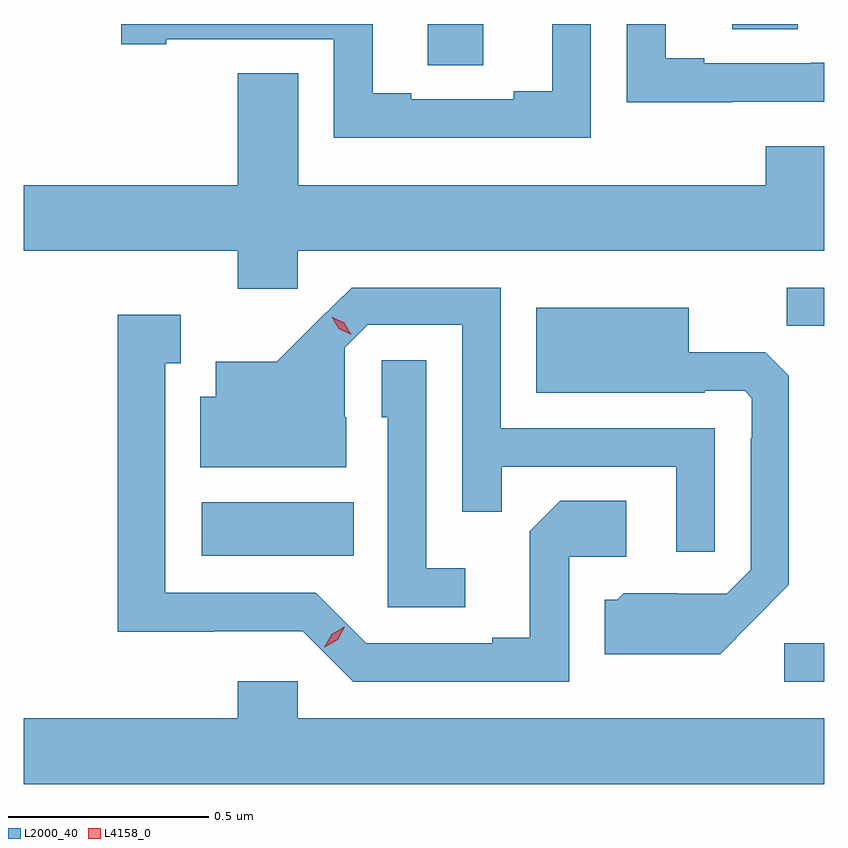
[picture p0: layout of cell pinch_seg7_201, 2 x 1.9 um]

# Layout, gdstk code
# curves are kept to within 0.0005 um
import gdstk
lib = gdstk.Library(unit=1e-6, precision=1e-09)
def R(c, l, rs):  # rectangles x0, y0, x1, y1
    for r in rs: c.add(gdstk.rectangle(r[:2], r[2:], *l))
def P(c, l, *ps):  # polygons
    for p in ps: c.add(gdstk.Polygon(p, *l))
L2000_40 = (2000, 40)
L4158_0 = (4158, 0)

pinch_seg7_201 = lib.new_cell('pinch_seg7_201')
R(pinch_seg7_201, L2000_40, [(1118.073,1003.536,1118.173,1003.632), (1116.618,1003.85,1116.998,1003.984), (1118.08,1004.425,1118.173,1004.52), (1117.182,1005.076,1117.321,1005.179), (1117.943,1005.166,1118.107,1005.179)])
P(pinch_seg7_201, L2000_40, [(1117.59,1005.179),(1117.493,1005.179),(1117.493,1005.011),(1117.397,1005.011),(1117.397,1004.991),(1117.141,1004.991),(1117.141,1005.006),(1117.045,1005.006),(1117.045,1005.179),(1116.417,1005.179),(1116.417,1005.129),(1116.529,1005.129),(1116.529,1005.141),(1116.948,1005.141),(1116.948,1004.895),(1117.59,1004.895)],
  [(1117.943,1004.985),(1118.173,1004.985),(1118.173,1005.082),(1118.138,1005.082),(1118.138,1005.081),(1117.873,1005.081),(1117.873,1005.094),(1117.777,1005.094),(1117.777,1005.179),(1117.68,1005.179),(1117.68,1004.984),(1117.943,1004.984)],
  [(1116.858,1004.612),(1118.173,1004.612),(1118.173,1004.874),(1118.027,1004.874),(1118.027,1004.776),(1116.859,1004.776),(1116.859,1005.056),(1116.707,1005.056),(1116.707,1004.776),(1116.173,1004.776),(1116.173,1004.612),(1116.707,1004.612),(1116.707,1004.517),(1116.858,1004.517)],
  [(1117.899,1004.169),(1117.365,1004.169),(1117.365,1004.52),(1116.992,1004.52),(1116.805,1004.335),(1116.653,1004.335),(1116.653,1004.248),(1116.614,1004.248),(1116.614,1004.072),(1116.979,1004.072),(1116.979,1004.196),(1116.975,1004.196),(1116.975,1004.37),(1117.032,1004.427),(1117.269,1004.427),(1117.269,1003.96),(1117.367,1003.96),(1117.367,1004.073),(1117.803,1004.073),(1117.803,1003.86),(1117.899,1003.86)],
  [(1117.993,1003.685),(1118.085,1003.778),(1118.085,1004.3),(1118.026,1004.359),(1117.834,1004.359),(1117.834,1004.47),(1117.454,1004.47),(1117.454,1004.258),(1117.874,1004.258),(1117.874,1004.262),(1117.974,1004.262),(1117.992,1004.244),(1117.992,1004.144),(1117.989,1004.144),(1117.989,1003.815),(1117.929,1003.755),(1117.806,1003.755),(1117.806,1003.756),(1117.672,1003.756),(1117.656,1003.74),(1117.625,1003.74),(1117.625,1003.604),(1117.913,1003.604)],
  [(1117.536,1003.848),(1117.678,1003.848),(1117.678,1003.988),(1117.513,1003.988),(1117.437,1003.912),(1117.437,1003.645),(1117.343,1003.645),(1117.343,1003.632),(1117.029,1003.632),(1116.903,1003.758),(1116.526,1003.758),(1116.526,1004.331),(1116.565,1004.331),(1116.565,1004.452),(1116.408,1004.452),(1116.408,1003.661),(1116.648,1003.661),(1116.648,1003.662),(1116.87,1003.662),(1116.996,1003.536),(1117.536,1003.536)],
  [(1117.276,1003.819),(1117.179,1003.819),(1117.179,1004.339),(1117.068,1004.339),(1117.068,1004.196),(1117.083,1004.196),(1117.083,1003.722),(1117.276,1003.722)],
  [(1118.173,1003.444),(1116.858,1003.444),(1116.858,1003.537),(1116.707,1003.537),(1116.707,1003.444),(1116.173,1003.444),(1116.173,1003.28),(1118.173,1003.28)])
P(pinch_seg7_201, L4158_0, [(1116.924,1003.622),(1116.924,1003.622),(1116.942,1003.654),(1116.974,1003.673),(1116.975,1003.673),(1116.975,1003.673),(1116.957,1003.64),(1116.925,1003.622)],
  [(1116.991,1004.402),(1116.96,1004.417),(1116.942,1004.447),(1116.942,1004.447),(1116.943,1004.447),(1116.974,1004.432),(1116.991,1004.402),(1116.991,1004.402)])

lib.write_gds('pinch_seg7_201.gds')
